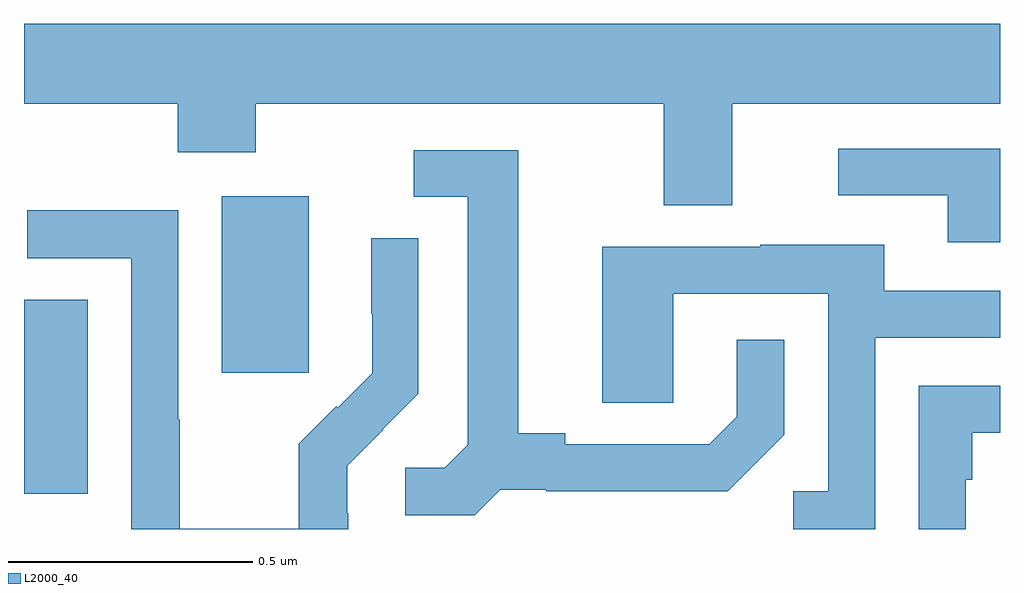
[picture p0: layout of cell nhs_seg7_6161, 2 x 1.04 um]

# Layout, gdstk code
import gdstk
lib = gdstk.Library(unit=1e-6, precision=1e-09)
def R(c, l, rs):  # rectangles x0, y0, x1, y1
    for r in rs: c.add(gdstk.rectangle(r[:2], r[2:], *l))
def P(c, l, *ps):  # polygons
    for p in ps: c.add(gdstk.Polygon(p, *l))
L2000_40 = (2000, 40)

nhs_seg7_6161 = lib.new_cell('nhs_seg7_6161')
R(nhs_seg7_6161, L2000_40, [(194,1077.073,194.131,1077.47), (194.405,1077.321,194.584,1077.682)])
P(nhs_seg7_6161, L2000_40, [(195.451,1077.872),(196,1077.872),(196,1078.036),(194,1078.036),(194,1077.872),(194.315,1077.872),(194.315,1077.773),(194.475,1077.773),(194.475,1077.872),(195.311,1077.872),(195.311,1077.664),(195.451,1077.664)],
  [(196,1077.78),(195.669,1077.78),(195.669,1077.684),(195.893,1077.684),(195.893,1077.588),(196,1077.588)],
  [(194.976,1077.081),(195.07,1077.081),(195.07,1077.078),(195.442,1077.078),(195.558,1077.194),(195.558,1077.388),(195.461,1077.388),(195.461,1077.231),(195.404,1077.174),(195.109,1077.174),(195.109,1077.197),(195.013,1077.197),(195.013,1077.777),(194.799,1077.777),(194.799,1077.681),(194.909,1077.681),(194.909,1077.173),(194.862,1077.126),(194.781,1077.126),(194.781,1077.029),(194.924,1077.029)],
  [(194.664,1077.033),(194.662,1077.033),(194.662,1077.13),(194.736,1077.204),(194.735,1077.205),(194.808,1077.278),(194.808,1077.596),(194.712,1077.596),(194.712,1077.442),(194.714,1077.442),(194.714,1077.32),(194.643,1077.249),(194.64,1077.252),(194.563,1077.175),(194.563,1077.001),(194.319,1077.001),(194.319,1077.224),(194.316,1077.224),(194.316,1077.654),(194.007,1077.654),(194.007,1077.555),(194.22,1077.555),(194.22,1077),(194.664,1077)],
  [(195.744,1077.393),(196,1077.393),(196,1077.489),(195.763,1077.489),(195.763,1077.583),(195.509,1077.583),(195.509,1077.579),(195.185,1077.579),(195.185,1077.259),(195.33,1077.259),(195.33,1077.483),(195.648,1077.483),(195.648,1077.078),(195.576,1077.078),(195.576,1077),(195.744,1077)],
  [(195.93,1077.101),(195.943,1077.101),(195.943,1077.198),(196,1077.198),(196,1077.294),(195.834,1077.294),(195.834,1077),(195.93,1077)])

lib.write_gds('nhs_seg7_6161.gds')
